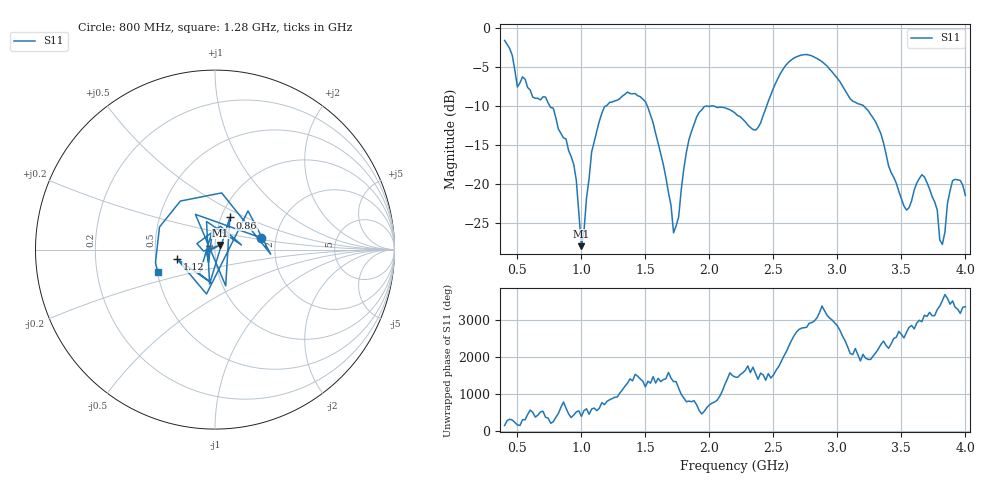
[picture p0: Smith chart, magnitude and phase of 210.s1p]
!Created with skrf (http://scikit-rf.org).
# Hz S RI R 50.0
!freq ReS11 ImS11
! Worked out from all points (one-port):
!   181 points, 400 MHz to 4 GHz, reference 50 ohm
!   lowest |S11| = -28.0 dB at 1 GHz (marker M1), VSWR 1.08, Z = 53.1 + j2.76 ohm
!   |S11| at or under -10 dB: 752.2 MHz to 1.195 GHz (442.4 MHz wide, 45.5 % of centre); 1.514 GHz to 2.448 GHz (934.3 MHz wide, 47.2 % of centre); 3.204 GHz to end of sweep
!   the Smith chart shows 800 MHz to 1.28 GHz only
!   S11 on the Smith chart (normalised r, x): 800 MHz: 1.67, +0.24; 860 MHz: 1.10, +0.41; 1.12 GHz: 0.65, -0.07; 1.28 GHz: 0.50, -0.14
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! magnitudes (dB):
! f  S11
! 400 MHz  -1.7
! 500 MHz  -7.6
! 800 MHz  -11.5
! 860 MHz  -14.1
! 940 MHz  -17.5
! 1 GHz  -28.0
! 1.08 GHz  -15.9
! 1.12 GHz  -13.2
! 1.28 GHz  -9.3
! 1.3 GHz  -9.1
! 1.5 GHz  -9.5
! 1.64 GHz  -17.5
! 1.72 GHz  -26.2
! 1.76 GHz  -24.2
! 1.82 GHz  -16.0
! 1.92 GHz  -10.8
! 2.2 GHz  -10.9
! 2.36 GHz  -13.1
! 2.66 GHz  -3.9
! 2.88 GHz  -4.4
! 3.1 GHz  -9.1
! 3.3 GHz  -12.1
! 3.56 GHz  -23.0
! 3.68 GHz  -19.1
! 3.78 GHz  -23.3
! 3.82 GHz  -27.7
! 3.9 GHz  -19.6
! 4 GHz  -21.5
